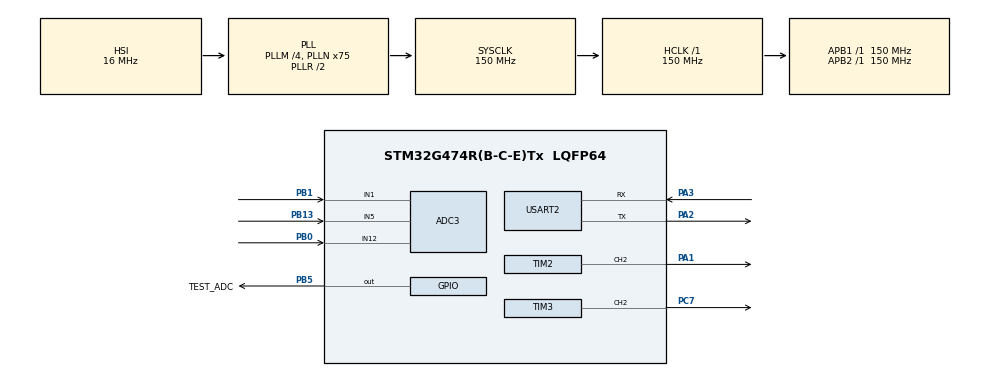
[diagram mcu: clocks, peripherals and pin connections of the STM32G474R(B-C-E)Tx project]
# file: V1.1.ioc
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ADC3.Channel-0\#ChannelRegularConversion=ADC_CHANNEL_1
ADC3.Channel-1\#ChannelRegularConversion=ADC_CHANNEL_5
ADC3.Channel-2\#ChannelRegularConversion=ADC_CHANNEL_12
ADC3.ClockPrescaler=ADC_CLOCK_ASYNC_DIV4
ADC3.DMAContinuousRequests=ENABLE
ADC3.ExternalTrigConv=ADC_EXTERNALTRIG_T3_CC1
ADC3.ExternalTrigConvEdge=ADC_EXTERNALTRIGCONVEDGE_FALLING
ADC3.NbrOfConversion=3
ADC3.NbrOfConversionFlag=1
ADC3.OffsetNumber-0\#ChannelRegularConversion=ADC_OFFSET_NONE
ADC3.OffsetNumber-1\#ChannelRegularConversion=ADC_OFFSET_NONE
ADC3.OffsetNumber-2\#ChannelRegularConversion=ADC_OFFSET_NONE
ADC3.Rank-0\#ChannelRegularConversion=1
ADC3.Rank-1\#ChannelRegularConversion=2
ADC3.Rank-2\#ChannelRegularConversion=3
ADC3.SamplingTime-0\#ChannelRegularConversion=ADC_SAMPLETIME_2CYCLES_5
ADC3.SamplingTime-1\#ChannelRegularConversion=ADC_SAMPLETIME_2CYCLES_5
ADC3.SamplingTime-2\#ChannelRegularConversion=ADC_SAMPLETIME_2CYCLES_5
ADC3.master=1
Dma.ADC3.0.Direction=DMA_PERIPH_TO_MEMORY
Dma.ADC3.0.EventEnable=DISABLE
Dma.ADC3.0.Instance=DMA1_Channel1
Dma.ADC3.0.MemDataAlignment=DMA_MDATAALIGN_WORD
Dma.ADC3.0.MemInc=DMA_MINC_ENABLE
Dma.ADC3.0.Mode=DMA_CIRCULAR
Dma.ADC3.0.PeriphDataAlignment=DMA_PDATAALIGN_WORD
Dma.ADC3.0.PeriphInc=DMA_PINC_DISABLE
Dma.ADC3.0.Polarity=HAL_DMAMUX_REQ_GEN_RISING
Dma.ADC3.0.Priority=DMA_PRIORITY_LOW
Dma.ADC3.0.RequestNumber=1
Dma.ADC3.0.SignalID=NONE
Dma.ADC3.0.SyncEnable=DISABLE
Dma.ADC3.0.SyncPolarity=HAL_DMAMUX_SYNC_NO_EVENT
Dma.ADC3.0.SyncRequestNumber=1
Dma.ADC3.0.SyncSignalID=NONE
Dma.Request0=ADC3
Mcu.Family=STM32G4
Mcu.Name=STM32G474R(B-C-E)Tx
Mcu.Package=LQFP64
NVIC.DMA1_Channel1_IRQn=true\:0\:0\:false\:false\:true\:false\:true\:true
NVIC.PriorityGroup=NVIC_PRIORITYGROUP_4
NVIC.USART2_IRQn=true\:0\:0\:false\:false\:true\:true\:true\:true
PA1.Signal=S_TIM2_CH2
PA13.Mode=Serial_Wire
PA13.Signal=SYS_JTMS-SWDIO
PA14.Mode=Serial_Wire
PA14.Signal=SYS_JTCK-SWCLK
PA2.Mode=Asynchronous
PA2.Signal=USART2_TX
PA3.Mode=Asynchronous
PA3.Signal=USART2_RX
PB0.Mode=IN12-Single-Ended
PB0.Signal=ADC3_IN12
PB1.Mode=IN1-Single-Ended
PB1.Signal=ADC3_IN1
PB13.Mode=IN5-Single-Ended
PB13.Signal=ADC3_IN5
PB5.GPIO_Label=TEST_ADC
PB5.Signal=GPIO_Output
PC7.Signal=S_TIM3_CH2
ProjectManager.HeapSize=0x200
ProjectManager.StackSize=0x400
ProjectManager.TargetToolchain=STM32CubeIDE
RCC.ADC12Freq_Value=150000000
RCC.ADC345Freq_Value=150000000
RCC.AHBFreq_Value=150000000
RCC.APB1Freq_Value=150000000
RCC.APB1TimFreq_Value=150000000
RCC.APB2Freq_Value=150000000
RCC.APB2TimFreq_Value=150000000
RCC.CortexFreq_Value=150000000
RCC.EXTERNAL_CLOCK_VALUE=12288000
RCC.HCLKFreq_Value=150000000
RCC.HSE_VALUE=8000000
RCC.HSI48_VALUE=48000000
RCC.HSI_VALUE=16000000
RCC.LSE_VALUE=32768
RCC.PLLM=RCC_PLLM_DIV4
RCC.PLLN=75
RCC.SYSCLKFreq_VALUE=150000000
RCC.SYSCLKSource=RCC_SYSCLKSOURCE_PLLCLK
RCC.USBFreq_Value=150000000
RCC.VCOOutputFreq_Value=300000000
SH.S_TIM2_CH2.0=TIM2_CH2,PWM Generation2 CH2
SH.S_TIM3_CH2.0=TIM3_CH2,PWM Generation2 CH2
TIM2.Channel-PWM\ Generation2\ CH2=TIM_CHANNEL_2
TIM2.PeriodNoDither=149
TIM2.Prescaler=9
TIM2.TIM_MasterOutputTrigger=TIM_TRGO_UPDATE
TIM3.AutoReloadPreload=TIM_AUTORELOAD_PRELOAD_ENABLE
TIM3.Channel-PWM\ Generation1\ No\ Output=TIM_CHANNEL_1
TIM3.Channel-PWM\ Generation2\ CH2=TIM_CHANNEL_2
TIM3.PeriodNoDither=149
TIM3.Prescaler=9
TIM3.TIM_MasterOutputTrigger=TIM_TRGO_UPDATE
USART2.VirtualMode-Asynchronous=VM_ASYNC
VP_SYS_VS_DBSignals.Mode=DisableDeadBatterySignals
VP_TIM2_VS_ClockSourceINT.Mode=Internal
VP_TIM3_VS_ClockSourceINT.Mode=Internal
VP_TIM3_VS_no_output1.Mode=PWM Generation1 No Output
board=custom

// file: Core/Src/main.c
/* USER CODE BEGIN Header */
/**
  ******************************************************************************
  * @file           : main.c
  * @brief          : Main program body
  ******************************************************************************
  * @attention
  *
  * Copyright (c) 2022 STMicroelectronics.
  * All rights reserved.
  *
  * This software is licensed under terms that can be found in the LICENSE file
  * in the root directory of this software component.
  * If no LICENSE file comes with this software, it is provided AS-IS.
  *
  ******************************************************************************
  */
/* USER CODE END Header */
#include "main.h"

/* USER CODE BEGIN Includes */
#include <USER_Timer.h>
#include <USER_CALLBACK_FUNCTION.h>
#include <USER_Adc.h>
#include <USER_Flash.h>
/* USER CODE END Includes */

/* USER CODE BEGIN PTD */
#define DEBUG_MAIN
/*define the syntax */
#define SETTIMER "TIMER"/**********************************************************The Syntax to modify the information of timer such as Duty, frequency*/
#define SETADC "ADC"/**************************************************************The Syntax to modify the filter of ADC such as cut off frequency*/
#define SETADCTIMER "MIDDLE"/**********************************************The Syntax to control trigger ADC at the middle Timer*/
#define SETPWMWITHADC "PWMBYSIGNAL"/***********************************************The Syntax to modify the ADC by the PWM*/
#define SETINJECTEDMODE "INJECTED"
/*Define the formular*/
#define ADDRESS_DATA_STORAGE(X) (0x08040000 + (2*1024*X))

/* USER CODE END PTD */

 ADC_HandleTypeDef hadc3;
DMA_HandleTypeDef hdma_adc3;

TIM_HandleTypeDef htim2;
TIM_HandleTypeDef htim3;

UART_HandleTypeDef huart2;

/* USER CODE BEGIN PV */
uint32_t Address = 0x0801F800;
COMPONENT_TIMER PWM_Variable;/************************************************* Store some Duty, channel of Timer*/
COMPONENT_ADCFilter ADCFilter_Variable;/**************************************** Store infor of ADC variable*/
float ADC_Variable[3] = {0};/*************************************************** ADC Variable to save value of ADC*/
char Tx_Buffer[150] = {0};/*************************************************** Tx_Buffer to store information debug*/

uint32_t CNTValue = 0;
uint8_t checkADCMode = 0;

FLASH_EraseInitTypeDef EraseInit;
uint64_t valueOfFlash;
double valueOfFlashDouble;
uint8_t array_w[10] = {1,2,3,4,5,6,7,8,9,0};
char array_r[10];
/* The Extern Variable */
extern char Rx_data[2];/******************************************************* The Buffer to store character from interrupt*/
extern char Rx_Buffer[20];/**************************************************** The Buffer to store String*/
extern char CheckFlagADC;
extern char CheckFlagUSART;
extern uint8_t checkMode;
/* USER CODE END PV */

void SystemClock_Config(void);
static void MX_GPIO_Init(void);
static void MX_TIM2_Init(void);
static void MX_DMA_Init(void);
static void MX_ADC3_Init(void);
static void MX_TIM3_Init(void);
static void MX_USART2_UART_Init(void);
/* USER CODE BEGIN PFP */
static uint8_t MX_ADC3_Init_InjectedMode(void);
/* USER CODE END PFP */

/* USER CODE BEGIN 0 */
static uint8_t MX_ADC3_Init_InjectedMode(void)
{

	  ADC_InjectionConfTypeDef sConfigInjected = {0};

	  sConfigInjected.InjectedChannel = ADC_CHANNEL_12;
	  sConfigInjected.InjectedRank = ADC_INJECTED_RANK_1;
	  sConfigInjected.InjectedSamplingTime = ADC_SAMPLETIME_640CYCLES_5;
	  sConfigInjected.InjectedSingleDiff = ADC_SINGLE_ENDED;
	  sConfigInjected.InjectedOffsetNumber = ADC_OFFSET_NONE;
	  sConfigInjected.InjectedOffset = 0;
	  sConfigInjected.InjectedNbrOfConversion = 1;
	  sConfigInjected.InjectedDiscontinuousConvMode = ENABLE;
	  sConfigInjected.AutoInjectedConv = DISABLE;
	  sConfigInjected.QueueInjectedContext = ENABLE;
	  sConfigInjected.ExternalTrigInjecConv = ADC_EXTERNALTRIGINJEC_T3_TRGO;
	  sConfigInjected.ExternalTrigInjecConvEdge = ADC_EXTERNALTRIGINJECCONV_EDGE_RISING;
	  sConfigInjected.InjecOversamplingMode = DISABLE;
	  if (HAL_ADCEx_InjectedConfigChannel(&hadc3, &sConfigInjected) != HAL_OK)
	  {
	    Error_Handler();
	  }
	  if (HAL_ADCEx_EnableInjectedQueue(&hadc3) != HAL_OK)
	  {
	    Error_Handler();
	  }

	  SET_BIT(hadc3.Instance->CR,ADC_CR_JADSTART);
	  return 1;
}
/* USER CODE END 0 */

int main(void)
{

  /* MCU Configuration--------------------------------------------------------*/

  /* Reset of all peripherals, Initializes the Flash interface and the Systick. */
  HAL_Init();

  /* Configure the system clock */
  SystemClock_Config();

  /* Initialize all configured peripherals */
  MX_GPIO_Init();
  MX_TIM2_Init();
  MX_DMA_Init();
  MX_ADC3_Init();
  MX_TIM3_Init();
  MX_USART2_UART_Init();
  /* USER CODE BEGIN 2 */
  USER_CALLBACK_init();

  /* USER CODE END 2 */

  /* Infinite loop */
  /* USER CODE BEGIN WHILE */
  while (1)
  {
	  /*When receive the data from USART2, it will set value of Timer follow the syntax TIMER-duty-frequency-NumberofTimer-NumberofChannel */
	  if((CheckFlagUSART == 1) && (strstr(Rx_Buffer,SETTIMER) !=NULL))
	  {
		  PWM_Variable = USER_TIMER_handleString(Rx_Buffer);
		  USER_TIMER_setValueOfPWM(PWM_Variable);
		  USER_CALLBACK_DeInit();
#ifdef DEBUG_MAIN
	snprintf(Tx_Buffer,sizeof(Tx_Buffer),"\r\n--------SYNTAX:TIMER-------\r\nThe Timer: %u\r\nThe Channel: %lu\r\nThe value of CCR = %lu\r\nThe value of ARR = %lu\r\n",PWM_Variable.NumberOfTimer,PWM_Variable.Channel,USER_TIMER_getValueCCR(),USER_TIMER_getValueARR());
	HAL_UART_Transmit(&huart2, (uint8_t*)Tx_Buffer,strlen(Tx_Buffer),1000);
#endif
	  }
	  /*With the syntax here, it will set the information of the filter in ADC syntax ADC-100-100000 like cut off frequency, sampling time*/
	  else if((CheckFlagUSART == 1) && (strstr(Rx_Buffer,SETADC) !=NULL))
	  {
		  ADCFilter_Variable = USER_ADC_handleString(Rx_Buffer);
		  USER_ADC_ConfigFilter(ADCFilter_Variable);
		  USER_CALLBACK_DeInit();
#ifdef DEBUG_MAIN
	snprintf(Tx_Buffer,sizeof(Tx_Buffer),"\r\n--------SYNTAX:ADC-------\r\nThe Cutoff: %f\r\nThe sampleFrequency: %f\r\n",USER_ADC_GetInforFilter().cutoffFreq,USER_ADC_GetInforFilter().sampleTime);
	HAL_UART_Transmit(&huart2, (uint8_t*)Tx_Buffer,strlen(Tx_Buffer),1000);
#endif
	  }
	  /*With the syntax it will modify and value of ADC will be controlled by duty cycle */
	  else if((CheckFlagUSART == 1) && (strstr(Rx_Buffer,SETPWMWITHADC) !=NULL))
	  {
		  USER_CALLBACK_DeInit();
#ifdef DEBUG_MAIN
//	memset(Tx_Buffer,'\0',150);
	//snprintf(Tx_Buffer,sizeof(Tx_Buffer),"\r\n--------SYNTAX:PWMBYSIGNAL-------\r\nThe ADC Value: %f\r\nThe Duty Cycle: %f",ADC_Variable[0],PWM_Variable.Duty);
		  HAL_UART_Transmit(&huart2, (uint8_t*)"\r\n--------SYNTAX:PWMBYSIGNAL-------\r\n",strlen("\r\n--------SYNTAX:PWMBYSIGNAL-------\r\n"),10000);
#endif
	  }
	  /*With the syntax, it will trigger ADC at the middle of timer, with channel of timer 3 is 2 and trigger adc by channel 1 of timer 3 */
	  else if((CheckFlagUSART == 1) && (strstr(Rx_Buffer,SETADCTIMER) !=NULL))
	  {
		  USER_TIMER_DividedIntoTwoCCR(&htim3);
		  USER_CALLBACK_DeInit();
#ifdef DEBUG_MAIN
	HAL_UART_Transmit(&huart2, (uint8_t*)"\r\n--------SYNTAX:MIDDLE-------\r\n",strlen("\r\n--------SYNTAX:MIDDLE-------\r\n"),1000);
#endif
	  }
	  /*With the syntax, it will trigger by injected mode*/
	  else if((CheckFlagUSART == 1) && (strstr(Rx_Buffer,SETINJECTEDMODE) !=NULL))
	  {
		  checkADCMode = MX_ADC3_Init_InjectedMode();
		  USER_CALLBACK_DeInit();
#ifdef DEBUG_MAIN
	HAL_UART_Transmit(&huart2, (uint8_t*)"\r\n--------SYNTAX:INJECTEDMODE-------\r\n",strlen("\r\n--------SYNTAX:INJECTEDMODE-------\r\n"),1000);
#endif
	  }
//	  /*When the ADC trigger, it will run here */
	  if(CheckFlagADC == 1)
	  {
		  HAL_GPIO_TogglePin(TEST_ADC_GPIO_Port,TEST_ADC_Pin);
		  if(1 == checkADCMode)
		  {
			  ADC_Variable[0] = HAL_ADC_GetValue(&hadc3);
			  ADC_Variable[2] = hadc3.Instance->JDR1;
		  }
		  else
		  {
			  ADC_Variable[0] = USER_ADC_GetADCFilterValue(1); /*Get value from channel 1*/
			  ADC_Variable[1] = USER_ADC_GetADCFilterValue(5); /*Get value from channel 5*/
			  ADC_Variable[2] = USER_ADC_GetADCFilterValue(12); /*Get value from channel 12 - PB0*/
		  }
		  if(checkMode == 1)
		  {
			  PWM_Variable.Duty = USER_TIMER_ConvertADCValueToDutyCycle(ADC_Variable[0]);
			  PWM_Variable.NumberOfTimer = 3;
			  PWM_Variable.Channel = 2;
			  USER_TIMER_setValueOfPWM(PWM_Variable);
		  }
		  CheckFlagADC = 0;
	  }

	 //testSignal();
    /* USER CODE END WHILE */

  }
}

void SystemClock_Config(void)
{
  RCC_OscInitTypeDef RCC_OscInitStruct = {0};
  RCC_ClkInitTypeDef RCC_ClkInitStruct = {0};

  /** Configure the main internal regulator output voltage
  */
  HAL_PWREx_ControlVoltageScaling(PWR_REGULATOR_VOLTAGE_SCALE1);

  /** Initializes the RCC Oscillators according to the specified parameters
  * in the RCC_OscInitTypeDef structure.
  */
  RCC_OscInitStruct.OscillatorType = RCC_OSCILLATORTYPE_HSI;
  RCC_OscInitStruct.HSIState = RCC_HSI_ON;
  RCC_OscInitStruct.HSICalibrationValue = RCC_HSICALIBRATION_DEFAULT;
  RCC_OscInitStruct.PLL.PLLState = RCC_PLL_ON;
  RCC_OscInitStruct.PLL.PLLSource = RCC_PLLSOURCE_HSI;
  RCC_OscInitStruct.PLL.PLLM = RCC_PLLM_DIV4;
  RCC_OscInitStruct.PLL.PLLN = 75;
  RCC_OscInitStruct.PLL.PLLP = RCC_PLLP_DIV2;
  RCC_OscInitStruct.PLL.PLLQ = RCC_PLLQ_DIV2;
  RCC_OscInitStruct.PLL.PLLR = RCC_PLLR_DIV2;
  if (HAL_RCC_OscConfig(&RCC_OscInitStruct) != HAL_OK)
  {
    Error_Handler();
  }

  /** Initializes the CPU, AHB and APB buses clocks
  */
  RCC_ClkInitStruct.ClockType = RCC_CLOCKTYPE_HCLK|RCC_CLOCKTYPE_SYSCLK
                              |RCC_CLOCKTYPE_PCLK1|RCC_CLOCKTYPE_PCLK2;
  RCC_ClkInitStruct.SYSCLKSource = RCC_SYSCLKSOURCE_PLLCLK;
  RCC_ClkInitStruct.AHBCLKDivider = RCC_SYSCLK_DIV1;
  RCC_ClkInitStruct.APB1CLKDivider = RCC_HCLK_DIV1;
  RCC_ClkInitStruct.APB2CLKDivider = RCC_HCLK_DIV1;

  if (HAL_RCC_ClockConfig(&RCC_ClkInitStruct, FLASH_LATENCY_4) != HAL_OK)
  {
    Error_Handler();
  }
}

static void MX_ADC3_Init(void)
{

  ADC_MultiModeTypeDef multimode = {0};
  ADC_ChannelConfTypeDef sConfig = {0};

  /** Common config
  */
  hadc3.Instance = ADC3;
  hadc3.Init.ClockPrescaler = ADC_CLOCK_ASYNC_DIV4;
  hadc3.Init.Resolution = ADC_RESOLUTION_12B;
  hadc3.Init.DataAlign = ADC_DATAALIGN_RIGHT;
  hadc3.Init.GainCompensation = 0;
  hadc3.Init.ScanConvMode = ADC_SCAN_ENABLE;
  hadc3.Init.EOCSelection = ADC_EOC_SINGLE_CONV;
  hadc3.Init.LowPowerAutoWait = DISABLE;
  hadc3.Init.ContinuousConvMode = DISABLE;
  hadc3.Init.NbrOfConversion = 3;
  hadc3.Init.DiscontinuousConvMode = DISABLE;
  hadc3.Init.ExternalTrigConv = ADC_EXTERNALTRIG_T3_CC1;
  hadc3.Init.ExternalTrigConvEdge = ADC_EXTERNALTRIGCONVEDGE_FALLING;
  hadc3.Init.DMAContinuousRequests = ENABLE;
  hadc3.Init.Overrun = ADC_OVR_DATA_PRESERVED;
  hadc3.Init.OversamplingMode = DISABLE;
  if (HAL_ADC_Init(&hadc3) != HAL_OK)
  {
    Error_Handler();
  }

  /** Configure the ADC multi-mode
  */
  multimode.Mode = ADC_MODE_INDEPENDENT;
  if (HAL_ADCEx_MultiModeConfigChannel(&hadc3, &multimode) != HAL_OK)
  {
    Error_Handler();
  }

  /** Configure Regular Channel
  */
  sConfig.Channel = ADC_CHANNEL_1;
  sConfig.Rank = ADC_REGULAR_RANK_1;
  sConfig.SamplingTime = ADC_SAMPLETIME_2CYCLES_5;
  sConfig.SingleDiff = ADC_SINGLE_ENDED;
  sConfig.OffsetNumber = ADC_OFFSET_NONE;
  sConfig.Offset = 0;
  if (HAL_ADC_ConfigChannel(&hadc3, &sConfig) != HAL_OK)
  {
    Error_Handler();
  }

  /** Configure Regular Channel
  */
  sConfig.Channel = ADC_CHANNEL_5;
  sConfig.Rank = ADC_REGULAR_RANK_2;
  if (HAL_ADC_ConfigChannel(&hadc3, &sConfig) != HAL_OK)
  {
    Error_Handler();
  }

  /** Configure Regular Channel
  */
  sConfig.Channel = ADC_CHANNEL_12;
  sConfig.Rank = ADC_REGULAR_RANK_3;
  if (HAL_ADC_ConfigChannel(&hadc3, &sConfig) != HAL_OK)
  {
    Error_Handler();
  }

}

static void MX_TIM2_Init(void)
{

  TIM_ClockConfigTypeDef sClockSourceConfig = {0};
  TIM_MasterConfigTypeDef sMasterConfig = {0};
  TIM_OC_InitTypeDef sConfigOC = {0};

  htim2.Instance = TIM2;
  htim2.Init.Prescaler = 9;
  htim2.Init.CounterMode = TIM_COUNTERMODE_UP;
  htim2.Init.Period = 149;
  htim2.Init.ClockDivision = TIM_CLOCKDIVISION_DIV1;
  htim2.Init.AutoReloadPreload = TIM_AUTORELOAD_PRELOAD_DISABLE;
  if (HAL_TIM_Base_Init(&htim2) != HAL_OK)
  {
    Error_Handler();
  }
  sClockSourceConfig.ClockSource = TIM_CLOCKSOURCE_INTERNAL;
  if (HAL_TIM_ConfigClockSource(&htim2, &sClockSourceConfig) != HAL_OK)
  {
    Error_Handler();
  }
  if (HAL_TIM_PWM_Init(&htim2) != HAL_OK)
  {
    Error_Handler();
  }
  sMasterConfig.MasterOutputTrigger = TIM_TRGO_UPDATE;
  sMasterConfig.MasterSlaveMode = TIM_MASTERSLAVEMODE_DISABLE;
  if (HAL_TIMEx_MasterConfigSynchronization(&htim2, &sMasterConfig) != HAL_OK)
  {
    Error_Handler();
  }
  sConfigOC.OCMode = TIM_OCMODE_PWM1;
  sConfigOC.Pulse = 0;
  sConfigOC.OCPolarity = TIM_OCPOLARITY_HIGH;
  sConfigOC.OCFastMode = TIM_OCFAST_DISABLE;
  if (HAL_TIM_PWM_ConfigChannel(&htim2, &sConfigOC, TIM_CHANNEL_2) != HAL_OK)
  {
    Error_Handler();
  }
  HAL_TIM_MspPostInit(&htim2);

}

static void MX_TIM3_Init(void)
{

  TIM_ClockConfigTypeDef sClockSourceConfig = {0};
  TIM_MasterConfigTypeDef sMasterConfig = {0};
  TIM_OC_InitTypeDef sConfigOC = {0};

  htim3.Instance = TIM3;
  htim3.Init.Prescaler = 9;
  htim3.Init.CounterMode = TIM_COUNTERMODE_UP;
  htim3.Init.Period = 149;
  htim3.Init.ClockDivision = TIM_CLOCKDIVISION_DIV1;
  htim3.Init.AutoReloadPreload = TIM_AUTORELOAD_PRELOAD_ENABLE;
  if (HAL_TIM_Base_Init(&htim3) != HAL_OK)
  {
    Error_Handler();
  }
  sClockSourceConfig.ClockSource = TIM_CLOCKSOURCE_INTERNAL;
  if (HAL_TIM_ConfigClockSource(&htim3, &sClockSourceConfig) != HAL_OK)
  {
    Error_Handler();
  }
  if (HAL_TIM_PWM_Init(&htim3) != HAL_OK)
  {
    Error_Handler();
  }
  sMasterConfig.MasterOutputTrigger = TIM_TRGO_UPDATE;
  sMasterConfig.MasterSlaveMode = TIM_MASTERSLAVEMODE_DISABLE;
  if (HAL_TIMEx_MasterConfigSynchronization(&htim3, &sMasterConfig) != HAL_OK)
  {
    Error_Handler();
  }
  sConfigOC.OCMode = TIM_OCMODE_PWM1;
  sConfigOC.Pulse = 0;
  sConfigOC.OCPolarity = TIM_OCPOLARITY_HIGH;
  sConfigOC.OCFastMode = TIM_OCFAST_DISABLE;
  if (HAL_TIM_PWM_ConfigChannel(&htim3, &sConfigOC, TIM_CHANNEL_1) != HAL_OK)
  {
    Error_Handler();
  }
  if (HAL_TIM_PWM_ConfigChannel(&htim3, &sConfigOC, TIM_CHANNEL_2) != HAL_OK)
  {
    Error_Handler();
  }
  HAL_TIM_MspPostInit(&htim3);

}

static void MX_USART2_UART_Init(void)
{

  huart2.Instance = USART2;
  huart2.Init.BaudRate = 115200;
  huart2.Init.WordLength = UART_WORDLENGTH_8B;
  huart2.Init.StopBits = UART_STOPBITS_1;
  huart2.Init.Parity = UART_PARITY_NONE;
  huart2.Init.Mode = UART_MODE_TX_RX;
  huart2.Init.HwFlowCtl = UART_HWCONTROL_NONE;
  huart2.Init.OverSampling = UART_OVERSAMPLING_16;
  huart2.Init.OneBitSampling = UART_ONE_BIT_SAMPLE_DISABLE;
  huart2.Init.ClockPrescaler = UART_PRESCALER_DIV1;
  huart2.AdvancedInit.AdvFeatureInit = UART_ADVFEATURE_NO_INIT;
  if (HAL_UART_Init(&huart2) != HAL_OK)
  {
    Error_Handler();
  }
  if (HAL_UARTEx_SetTxFifoThreshold(&huart2, UART_TXFIFO_THRESHOLD_1_8) != HAL_OK)
  {
    Error_Handler();
  }
  if (HAL_UARTEx_SetRxFifoThreshold(&huart2, UART_RXFIFO_THRESHOLD_1_8) != HAL_OK)
  {
    Error_Handler();
  }
  if (HAL_UARTEx_DisableFifoMode(&huart2) != HAL_OK)
  {
    Error_Handler();
  }

}

static void MX_DMA_Init(void)
{

  /* DMA controller clock enable */
  __HAL_RCC_DMAMUX1_CLK_ENABLE();
  __HAL_RCC_DMA1_CLK_ENABLE();

  /* DMA interrupt init */
  /* DMA1_Channel1_IRQn interrupt configuration */
  HAL_NVIC_SetPriority(DMA1_Channel1_IRQn, 0, 0);
  HAL_NVIC_EnableIRQ(DMA1_Channel1_IRQn);

}

static void MX_GPIO_Init(void)
{
  GPIO_InitTypeDef GPIO_InitStruct = {0};

  /* GPIO Ports Clock Enable */
  __HAL_RCC_GPIOA_CLK_ENABLE();
  __HAL_RCC_GPIOB_CLK_ENABLE();
  __HAL_RCC_GPIOC_CLK_ENABLE();

  /*Configure GPIO pin Output Level */
  HAL_GPIO_WritePin(TEST_ADC_GPIO_Port, TEST_ADC_Pin, GPIO_PIN_RESET);

  /*Configure GPIO pin : TEST_ADC_Pin */
  GPIO_InitStruct.Pin = TEST_ADC_Pin;
  GPIO_InitStruct.Mode = GPIO_MODE_OUTPUT_PP;
  GPIO_InitStruct.Pull = GPIO_NOPULL;
  GPIO_InitStruct.Speed = GPIO_SPEED_FREQ_LOW;
  HAL_GPIO_Init(TEST_ADC_GPIO_Port, &GPIO_InitStruct);

}

void Error_Handler(void)
{
  __disable_irq();
  while (1)
  {
  }
}
